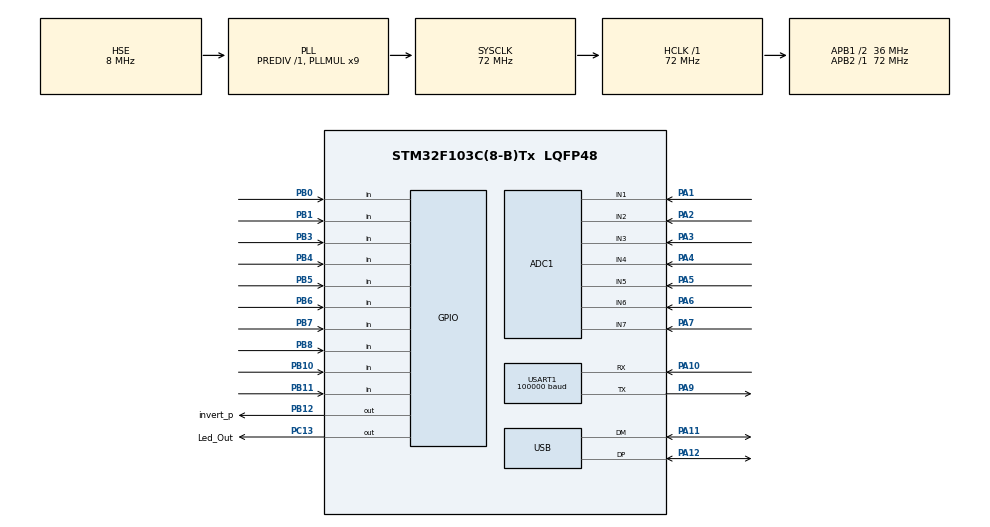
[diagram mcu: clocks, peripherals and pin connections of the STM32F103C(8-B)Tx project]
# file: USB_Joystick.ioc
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ADC1.Channel-0\#ChannelRegularConversion=ADC_CHANNEL_1
ADC1.Channel-1\#ChannelRegularConversion=ADC_CHANNEL_2
ADC1.Channel-2\#ChannelRegularConversion=ADC_CHANNEL_3
ADC1.Channel-3\#ChannelRegularConversion=ADC_CHANNEL_4
ADC1.Channel-8\#ChannelRegularConversion=ADC_CHANNEL_5
ADC1.Channel-9\#ChannelRegularConversion=ADC_CHANNEL_6
ADC1.ContinuousConvMode=ENABLE
ADC1.EnableAnalogWatchDog=false
ADC1.EnableInjectedConversion=DISABLE
ADC1.InjNumberOfConversion=0
ADC1.NbrOfConversion=6
ADC1.NbrOfConversionFlag=1
ADC1.Rank-0\#ChannelRegularConversion=1
ADC1.Rank-1\#ChannelRegularConversion=2
ADC1.Rank-2\#ChannelRegularConversion=3
ADC1.Rank-3\#ChannelRegularConversion=4
ADC1.Rank-8\#ChannelRegularConversion=5
ADC1.Rank-9\#ChannelRegularConversion=6
ADC1.SamplingTime-0\#ChannelRegularConversion=ADC_SAMPLETIME_239CYCLES_5
ADC1.SamplingTime-1\#ChannelRegularConversion=ADC_SAMPLETIME_239CYCLES_5
ADC1.SamplingTime-2\#ChannelRegularConversion=ADC_SAMPLETIME_239CYCLES_5
ADC1.SamplingTime-3\#ChannelRegularConversion=ADC_SAMPLETIME_239CYCLES_5
ADC1.SamplingTime-8\#ChannelRegularConversion=ADC_SAMPLETIME_239CYCLES_5
ADC1.SamplingTime-9\#ChannelRegularConversion=ADC_SAMPLETIME_239CYCLES_5
ADC1.master=1
Dma.ADC1.0.Direction=DMA_PERIPH_TO_MEMORY
Dma.ADC1.0.Instance=DMA1_Channel1
Dma.ADC1.0.MemDataAlignment=DMA_MDATAALIGN_HALFWORD
Dma.ADC1.0.MemInc=DMA_MINC_ENABLE
Dma.ADC1.0.Mode=DMA_CIRCULAR
Dma.ADC1.0.PeriphDataAlignment=DMA_PDATAALIGN_HALFWORD
Dma.ADC1.0.PeriphInc=DMA_PINC_DISABLE
Dma.ADC1.0.Priority=DMA_PRIORITY_MEDIUM
Dma.Request0=ADC1
Mcu.Family=STM32F1
Mcu.Name=STM32F103C(8-B)Tx
Mcu.Package=LQFP48
NVIC.DMA1_Channel1_IRQn=true\:0\:0\:false\:false\:true\:false\:true\:true
NVIC.PriorityGroup=NVIC_PRIORITYGROUP_4
NVIC.USB_LP_CAN1_RX0_IRQn=true\:0\:0\:false\:false\:true\:false\:true\:true
PA1.Signal=ADCx_IN1
PA10.Mode=Asynchronous
PA10.Signal=USART1_RX
PA11.Mode=Device
PA11.Signal=USB_DM
PA12.Mode=Device
PA12.Signal=USB_DP
PA13.Mode=Serial_Wire
PA13.Signal=SYS_JTMS-SWDIO
PA14.Mode=Serial_Wire
PA14.Signal=SYS_JTCK-SWCLK
PA2.Signal=ADCx_IN2
PA3.Signal=ADCx_IN3
PA4.Signal=ADCx_IN4
PA5.Signal=ADCx_IN5
PA6.Signal=ADCx_IN6
PA7.Signal=ADCx_IN7
PA9.Mode=Asynchronous
PA9.Signal=USART1_TX
PB0.GPIO_PuPd=GPIO_PULLUP
PB0.Signal=GPIO_Input
PB1.GPIO_PuPd=GPIO_PULLUP
PB1.Signal=GPIO_Input
PB10.GPIO_PuPd=GPIO_PULLUP
PB10.Signal=GPIO_Input
PB11.GPIO_PuPd=GPIO_PULLUP
PB11.Signal=GPIO_Input
PB12.GPIO_Label=invert_p
PB12.PinState=GPIO_PIN_SET
PB12.Signal=GPIO_Output
PB3.GPIO_PuPd=GPIO_PULLUP
PB3.Signal=GPIO_Input
PB4.GPIO_PuPd=GPIO_PULLUP
PB4.Signal=GPIO_Input
PB5.GPIO_PuPd=GPIO_PULLUP
PB5.Signal=GPIO_Input
PB6.GPIO_PuPd=GPIO_PULLUP
PB6.Signal=GPIO_Input
PB7.GPIO_PuPd=GPIO_PULLUP
PB7.Signal=GPIO_Input
PB8.GPIO_PuPd=GPIO_PULLUP
PB8.Signal=GPIO_Input
PC13-TAMPER-RTC.GPIO_Label=Led_Out
PC13-TAMPER-RTC.Signal=GPIO_Output
PD0-OSC_IN.Mode=HSE-External-Oscillator
PD0-OSC_IN.Signal=RCC_OSC_IN
PD1-OSC_OUT.Mode=HSE-External-Oscillator
PD1-OSC_OUT.Signal=RCC_OSC_OUT
ProjectManager.HeapSize=0x200
ProjectManager.StackSize=0x400
ProjectManager.TargetToolchain=STM32CubeIDE
RCC.ADCPresc=RCC_ADCPCLK2_DIV6
RCC.AHBFreq_Value=72000000
RCC.APB1CLKDivider=RCC_HCLK_DIV2
RCC.APB1Freq_Value=36000000
RCC.APB1TimFreq_Value=72000000
RCC.APB2Freq_Value=72000000
RCC.APB2TimFreq_Value=72000000
RCC.HCLKFreq_Value=72000000
RCC.PLLMUL=RCC_PLL_MUL9
RCC.SYSCLKFreq_VALUE=72000000
RCC.SYSCLKSource=RCC_SYSCLKSOURCE_PLLCLK
RCC.USBFreq_Value=48000000
RCC.USBPrescaler=RCC_USBCLKSOURCE_PLL_DIV1_5
SH.ADCx_IN1.0=ADC1_IN1,IN1
SH.ADCx_IN2.0=ADC1_IN2,IN2
SH.ADCx_IN3.0=ADC1_IN3,IN3
SH.ADCx_IN4.0=ADC1_IN4,IN4
SH.ADCx_IN5.0=ADC1_IN5,IN5
SH.ADCx_IN6.0=ADC1_IN6,IN6
SH.ADCx_IN7.0=ADC1_IN7,IN7
USART1.BaudRate=100000
USART1.Mode=MODE_TX
USART1.Parity=PARITY_EVEN
USART1.StopBits=STOPBITS_2
USART1.VirtualMode=VM_ASYNC
USART1.WordLength=WORDLENGTH_9B
USB_DEVICE.CLASS_NAME_FS=HID
USB_DEVICE.VirtualMode=Hid
USB_DEVICE.VirtualModeFS=Hid_FS
VP_USB_DEVICE_VS_USB_DEVICE_HID_FS.Mode=HID_FS
board=custom

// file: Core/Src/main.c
/* USER CODE BEGIN Header */
/**
  ******************************************************************************
  * @file           : main.c
  * @brief          : Main program body
  ******************************************************************************
  * @attention
  *
  * Copyright (c) 2025 STMicroelectronics.
  * All rights reserved.
  *
  * This software is licensed under terms that can be found in the LICENSE file
  * in the root directory of this software component.
  * If no LICENSE file comes with this software, it is provided AS-IS.
  *
  ******************************************************************************
  */
/* USER CODE END Header */
#include "main.h"
#include "usb_device.h"

/* USER CODE BEGIN Includes */
#include"usbd_hid.h"
#include <stdbool.h>
#include <math.h>
#include <string.h>
#include <stdio.h>

/* USER CODE END Includes */

/* USER CODE BEGIN PTD */
typedef struct{
	uint8_t reportID;
    int8_t x;
    int8_t y;
    int8_t z;
    int8_t rz;
    int8_t rx;
    int8_t ry;
    //   int8_t slider;
    uint16_t buttons;
}__attribute__((packed)) joystickreport;

// Channel calibration data (inspired by RC transmitter code)
typedef struct {
    uint16_t chLower[6];      // Minimum ADC values per axis
    uint16_t chMiddle[6];     // Center ADC values per axis
    uint16_t chUpper[6];      // Maximum ADC values per axis
    int8_t chReverse[6];      // Reverse flags
    int16_t chTrim[6];        // Fine-tune offsets
} CalibrationData_t;

/* USER CODE END PTD */

/* USER CODE BEGIN PD */
#define TGL1_PIN GPIO_PIN_0 // PB0
#define TGL2_PIN GPIO_PIN_1 // PB1
#define TGL3_PIN GPIO_PIN_7 //PB7
#define TGL4_PIN GPIO_PIN_8 // PB8
#define TGL5_PIN GPIO_PIN_10 // PB10
#define TGL6_PIN GPIO_PIN_11 // PB11

#define TGL_PORT GPIOB

#define BTN1_PIN GPIO_PIN_3 // PB2
#define BTN2_PIN GPIO_PIN_4 // PB3
#define BTN3_PIN GPIO_PIN_5 // PB4
#define BTN4_PIN GPIO_PIN_6 // PB5
#define BTN_PORT GPIOB

#define DEADZONE 50
#define ADC_CHANNELS 6
#define SAMPLES_PER_CHANNEL 10
#define ADC_BUFFER_SIZE (ADC_CHANNELS * SAMPLES_PER_CHANNEL)
#define EMA_ALPHA 0.15f

// SBUS Protocol Defines
#define SBUS_FRAME_SIZE 25
#define SBUS_HEADER 0x0F
#define SBUS_FOOTER 0x00
#define SBUS_MIN 172
#define SBUS_MAX 1811
#define SBUS_CENTER 992
/* USER CODE END PD */

ADC_HandleTypeDef hadc1;
DMA_HandleTypeDef hdma_adc1;

UART_HandleTypeDef huart1;

/* USER CODE BEGIN PV */
/*uint16_t raw_adc[4];                         // stores raw ADC readings
float avg_buffer[4][SMOOTH_WINDOW] = {0};    // moving average history buffer
float smoothed_adc[4] = {0};                 // smoothed ADC values
*/

uint16_t adc_buffer[ADC_BUFFER_SIZE];
uint16_t adc_filtered[ADC_CHANNELS];
float ema_values[ADC_CHANNELS] = {0};

extern USBD_HandleTypeDef hUsbDeviceFS;
uint8_t sbusFrame[25];

// Calibration data with defaults
CalibrationData_t cal = {
		.chLower = {200, 200, 200, 200, 0, 0},
		.chMiddle = {2048, 2048, 2048, 2048, 2048, 2048},
		.chUpper = {3900, 3900, 3900, 3900, 4095, 4095},
		.chReverse = {0, 0, 0, 0, 0,0},
		.chTrim = {0, 0, 0, 0, 0, 0}
		};

int16_t rcChannels[4];  // RC channel values (1000-2000)

uint16_t potentiometers[2] = {0};  // Store 3 potentiometer raw values (0-4095)
uint8_t pot_percent[2] = {0};      // Store as percentages (0-100%)

volatile uint8_t adc_ready = 0;
static bool ema_seeded = false;

int16_t data;

/* USER CODE END PV */

void SystemClock_Config(void);
static void MX_GPIO_Init(void);
static void MX_DMA_Init(void);
static void MX_ADC1_Init(void);
static void MX_USART1_UART_Init(void);
/* USER CODE BEGIN PFP */
void EncodeSBUS(uint16_t channels[16], uint8_t frame[SBUS_FRAME_SIZE]);
void SendSBUSToFlightController(uint8_t *frame);
int16_t MapToSBUS(int8_t joy_value);
void JoystickToSBUS(joystickreport *joy);

uint16_t GetMedianValue(uint16_t *buffer, uint8_t channel);
float EMAFilter(float current, float previous, float alpha);
int16_t MapADCtoRC(uint16_t adc_value, uint8_t axis);
void BuildSBUSFrame(int16_t channels[16]);
int16_t RCtoSBUS(int16_t rc_value);
void ProcessADCData(void);

int16_t JoyToSBUS(int8_t v);
int16_t PotToSBUS(uint16_t pot_value);
/* USER CODE END PFP */

/* USER CODE BEGIN 0 */

void ADC_Calibration(void)
{
    if ((hadc1.Instance->CR2 & ADC_CR2_ADON) != 0) {
        hadc1.Instance->CR2 &= ~ADC_CR2_ADON;
        HAL_Delay(1);
    }
    hadc1.Instance->CR2 |= ADC_CR2_RSTCAL;
    while (hadc1.Instance->CR2 & ADC_CR2_RSTCAL);
    hadc1.Instance->CR2 |= ADC_CR2_CAL;
    while (hadc1.Instance->CR2 & ADC_CR2_CAL);
    HAL_Delay(2);
}

// Median filter implementation
uint16_t GetMedianValue(uint16_t *buffer, uint8_t channel) {
    uint16_t temp_array[SAMPLES_PER_CHANNEL];

    // Extract samples for this channel
    for (int i = 0; i < SAMPLES_PER_CHANNEL; i++) {
        temp_array[i] = buffer[channel + ADC_CHANNELS * i];
    }

    // Bubble sort
    for (int j = 0; j < SAMPLES_PER_CHANNEL - 1; j++) {
        for (int i = 0; i < SAMPLES_PER_CHANNEL - j - 1; i++) {
            if (temp_array[i] > temp_array[i + 1]) {
                uint16_t temp = temp_array[i];
                temp_array[i] = temp_array[i + 1];
                temp_array[i + 1] = temp;
            }
        }
    }

    // Return median
    if (SAMPLES_PER_CHANNEL & 1) {
        return temp_array[SAMPLES_PER_CHANNEL / 2];
    } else {
        return (temp_array[SAMPLES_PER_CHANNEL / 2 - 1] +
                temp_array[SAMPLES_PER_CHANNEL / 2]) / 2;
    }
}

// Exponential Moving Average filter
float EMAFilter(float current, float previous, float alpha) {
    return (alpha * current) + ((1.0f - alpha) * previous);
}

// Map ADC to RC values (1000-2000) with calibration
int16_t MapADCtoRC(uint16_t adc_value, uint8_t axis) {
    int raw = (int)adc_value;
    int result;

    // Apply deadzone around center
    int centered = raw - cal.chMiddle[axis];
    if (abs(centered) < DEADZONE) {
        return 1500;
    }

    // Map using calibration points
    if (raw < cal.chMiddle[axis]) {
        int range_low = cal.chMiddle[axis] - cal.chLower[axis];
        if (range_low < 100) range_low = 100;
        result = 1000 + (raw - cal.chLower[axis]) * 500 / range_low;
    } else {
        int range_high = cal.chUpper[axis] - cal.chMiddle[axis];
        if (range_high < 100) range_high = 100;
        result = 1500 + (raw - cal.chMiddle[axis]) * 500 / range_high;
    }

    // Apply trim and reverse
    result += cal.chTrim[axis];
    if (cal.chReverse[axis]) {
        result = 3000 - result;
    }

    // Clamp
    if (result < 1000) result = 1000;
    if (result > 2000) result = 2000;

    return (int16_t)result;
}

/* USER CODE BEGIN 0 */

// Convert int8_t joystick (-127 to +127) to SBUS (172-1811)
int16_t JoyToSBUS(int8_t v) {
    int32_t scaled = ((int32_t)(v + 127) * (SBUS_MAX - SBUS_MIN)) / 254 + SBUS_MIN;
    if (scaled < SBUS_MIN)  scaled = SBUS_MIN;
    if (scaled > SBUS_MAX)  scaled = SBUS_MAX;
    return (int16_t)scaled;
}

// Convert potentiometer (0-4095) to SBUS (172-1811)
int16_t PotToSBUS(uint16_t pot_value) {
    int32_t scaled = ((int32_t)pot_value * (SBUS_MAX - SBUS_MIN)) / 4095 + SBUS_MIN;
    if (scaled < SBUS_MIN)  scaled = SBUS_MIN;
    if (scaled > SBUS_MAX)  scaled = SBUS_MAX;
    return (int16_t)scaled;
}
void BuildSBUSFrame(int16_t channels[16]) {
    memset(sbusFrame, 0, sizeof(sbusFrame));
    sbusFrame[0] = SBUS_HEADER;

    uint32_t bitIndex = 0;
    for (int i = 0; i < 16; i++) {
        int16_t value = channels[i] & 0x07FF;
        for (int b = 0; b < 11; b++) {
            if (value & (1 << b)) {
                sbusFrame[1 + (bitIndex >> 3)] |= (1 << (bitIndex & 0x07));
            }
            bitIndex++;
        }
    }

    sbusFrame[23] = 0x00;
    sbusFrame[24] = SBUS_FOOTER;
}
void ProcessADCData(void) {
    uint16_t temp_filtered[ADC_CHANNELS];

    // Step 1: Filter ALL 7 channels (median + EMA)
    for (int ch = 0; ch < ADC_CHANNELS; ch++) {
        uint16_t median = GetMedianValue(adc_buffer, ch);

        if (!ema_seeded) {
            ema_values[ch] = (float)median;
        } else {
            ema_values[ch] = EMAFilter((float)median, ema_values[ch], EMA_ALPHA);
        }

        temp_filtered[ch] = (uint16_t)ema_values[ch];
    }
    ema_seeded = true;

    // Step 2: Process JOYSTICKS (channels 0-3) with crosstalk suppression
    for (int ch = 0; ch < 4; ch++) {
        int16_t deviation = (int16_t)temp_filtered[ch] - (int16_t)cal.chMiddle[ch];

        // Snap to center if very close (eliminates crosstalk)
        if (abs(deviation) < 25) {
            adc_filtered[ch] = cal.chMiddle[ch];
        } else {
            adc_filtered[ch] = temp_filtered[ch];
        }

        rcChannels[ch] = MapADCtoRC(adc_filtered[ch], ch);
    }

    // Step 3: Process POTENTIOMETERS (channels 4-6) - direct reading, no deadzone
    for (int i = 0; i < 2; i++) {
        adc_filtered[4 + i] = temp_filtered[4 + i];
        potentiometers[i] = adc_filtered[4 + i];

        // Convert to percentage (0-100%)
        pot_percent[i] = (uint8_t)((potentiometers[i] * 100) / 4095);
    }
}

// DMA conversion complete callback
void HAL_ADC_ConvCpltCallback(ADC_HandleTypeDef* hadc) {
    adc_ready = 1;
}
/*void SendSBUSToFlightController(uint8_t *frame) {
    // Transmit 25-byte SBUS frame
	 HAL_UART_Transmit(&huart3, frame, 25, HAL_MAX_DELAY);

}*/

/* USER CODE END 0 */

int main(void)
{

  /* MCU Configuration--------------------------------------------------------*/

  /* Reset of all peripherals, Initializes the Flash interface and the Systick. */
  HAL_Init();

  /* Configure the system clock */
  SystemClock_Config();

  /* Initialize all configured peripherals */
  MX_GPIO_Init();
  MX_DMA_Init();
  MX_ADC1_Init();
  MX_USB_DEVICE_Init();
  MX_USART1_UART_Init();
  /* USER CODE BEGIN 2 */

 // char tg[] = "TX Ready\r\n";
    	             // HAL_UART_Transmit(&huart1, (uint8_t*)tg, sizeof(tg)-1, HAL_MAX_DELAY);

    	              HAL_GPIO_WritePin(invert_p_GPIO_Port, invert_p_Pin, GPIO_PIN_SET);

    	          //

    	           //   ADC_Calibration();

    	             HAL_ADCEx_Calibration_Start(&hadc1);
    	                 HAL_Delay(10);

    	                 // Start DMA in circular mode
    	                 HAL_ADC_Start_DMA(&hadc1, (uint32_t*)adc_buffer, ADC_BUFFER_SIZE);
    	                 HAL_Delay(200);

    	                 for (int i = 0; i < 5; i++) {
    	                     while (!adc_ready) { }  // Wait for DMA complete
    	                     adc_ready = 0;
    	                     ProcessADCData();
    	                     HAL_Delay(20);
    	                 }

    	                 // Seed EMA and auto-calibrate center position using freshly acquired samples
    	                 ProcessADCData();
    	                 for (int i = 0; i < 4; i++) {
    	                 cal.chMiddle[i] = adc_filtered[i];
    	                 }

    	                 char cal_msg[150];
    	                 snprintf(cal_msg, sizeof(cal_msg),
    	                          "Calibrated: CH0=%d CH1=%d CH2=%d CH3=%d POT1=%d POT2=%d\r\n",
    	                          cal.chMiddle[0], cal.chMiddle[1], cal.chMiddle[2], cal.chMiddle[3],
    	                          cal.chMiddle[4], cal.chMiddle[5]);
    	              //   HAL_UART_Transmit(&huart1, (uint8_t*)cal_msg, strlen(cal_msg), HAL_MAX_DELAY);

    	                 uint32_t loop_counter = 0;

  /* USER CODE END 2 */

  /* Infinite loop */
  /* USER CODE BEGIN WHILE */
  joystickreport last_joy = {0};  // previous state
    joystickreport joy = {0};     // current state

    joy.reportID = 1;
    last_joy.reportID = 1;

   // uint8_t idx = 0;              //smoothing buffer index
  while (1)
  {
	  // Wait for DMA complete
	        if (adc_ready) {
	            adc_ready = 0;

	            // Process ADC data with median + EMA filtering
	            ProcessADCData();

	            joy.x  = -(int8_t)(((int32_t)(rcChannels[0] - 1500) * 127) / 500);
	          	            joy.y  = (int8_t)(((int32_t)(rcChannels[1] - 1500) * 127) / 500);
	          	            joy.z  = -(int8_t)(((int32_t)(rcChannels[2] - 1500) * 127) / 500);
	          	            joy.rz = (int8_t)(((int32_t)(rcChannels[3] - 1500) * 127) / 500);

	            joy.rx     = (int8_t)((potentiometers[0] * 254 / 4095) - 127);  // Pot 1
	            joy.ry     = (int8_t)((potentiometers[1] * 254 / 4095) - 127);  // Pot 2
	           // joy.slider = (int8_t)((potentiometers[2] * 254 / 4095) - 127);  // Pot 3

	            uint8_t but1  = !HAL_GPIO_ReadPin(BTN_PORT, BTN1_PIN);
	          	            uint8_t but2  = !HAL_GPIO_ReadPin(BTN_PORT, BTN2_PIN);
	          	            uint8_t but3  = !HAL_GPIO_ReadPin(BTN_PORT, BTN3_PIN);
	          	            uint8_t but4  = !HAL_GPIO_ReadPin(BTN_PORT, BTN4_PIN);
	            uint8_t left1  = HAL_GPIO_ReadPin(TGL_PORT, TGL1_PIN);
	            uint8_t right1 = HAL_GPIO_ReadPin(TGL_PORT, TGL2_PIN);

	            uint8_t sw_left = 0;
	            uint8_t sw_center = 0;
	            uint8_t sw_right = 0;

	            if (left1 == GPIO_PIN_RESET && right1 == GPIO_PIN_SET) {
	                sw_left = 1;
	            }
	            else if (left1 == GPIO_PIN_SET && right1 == GPIO_PIN_RESET) {
	                sw_right = 1;
	            }
	            else {
	                sw_center = 1;
	            }

	            uint8_t left2  = HAL_GPIO_ReadPin(TGL_PORT, TGL3_PIN);
	            uint8_t right2 = HAL_GPIO_ReadPin(TGL_PORT, TGL4_PIN);

	            uint8_t sw_left1 = 0;
	            uint8_t sw_center1 = 0;
	            uint8_t sw_right1 = 0;

	            if (left2 == GPIO_PIN_RESET && right2 == GPIO_PIN_SET) {
	                sw_left1 = 1;
	            }
	            else if (left2 == GPIO_PIN_SET && right2 == GPIO_PIN_RESET) {
	                sw_right1 = 1;
	            }
	            else {
	                sw_center1 = 1;
	            }

	            uint8_t ts1   = !HAL_GPIO_ReadPin(TGL_PORT, TGL5_PIN);
	            uint8_t ts2   = !HAL_GPIO_ReadPin(TGL_PORT, TGL6_PIN);

	   	            joy.buttons =
	                (but1      << 0) | (but2      << 1) | (but3      << 2) | (but4      << 3) | (ts1       << 4) | (ts2       << 5) | (sw_left   << 6) |
	                (sw_center << 7) | (sw_right  << 8) | (sw_left1  << 9) | (sw_center1<< 10)| (sw_right1 << 11);

	            // Send USB HID if changed
	            bool changed = false;
	            if (abs(joy.x  - last_joy.x)  > 2) changed = true;
	            if (abs(joy.y  - last_joy.y)  > 2) changed = true;
	            if (abs(joy.z  - last_joy.z)  > 2) changed = true;
	            if (abs(joy.rz - last_joy.rz) > 2) changed = true;
	            if (abs(joy.rx - last_joy.rx) > 2) changed = true;
	            if (abs(joy.ry - last_joy.ry) > 2) changed = true;
	          //  if (abs(joy.slider - last_joy.slider) > 2) changed = true;
	            if (joy.buttons != last_joy.buttons) changed = true;

	            if (changed) {

	            	/* uint8_t *ptr = (uint8_t*)&joy;
	            	        char raw[100];
	            	        snprintf(raw, sizeof(raw),
	            	                 "USB→[%02X][%02X][%02X][%02X][%02X][%02X]\r\n",
	            	                 ptr[0], ptr[1], ptr[2], ptr[3], ptr[4],
	            	                 sizeof(joystickreport));
	            	        HAL_UART_Transmit(&huart1, (uint8_t*)raw, strlen(raw), 10);*/
	            	joy.reportID = 1;

	                USBD_HID_SendReport(&hUsbDeviceFS, (uint8_t*)&joy, sizeof(joystickreport));
	                memcpy(&last_joy, &joy, sizeof(joystickreport));
	            }

	            // Debug output (throttled)
	            if (loop_counter % 25 == 0) {
	            	 char buf[200];
	            	 snprintf(buf, sizeof(buf),
	            	                     "ADC:%d,%d,%d,%d | POT1=%d(%d%%) POT2=%d(%d%%) | JOY:X=%d Y=%d Z=%d RZ=%d BTN=0x%02X\r\n",
	            	                     adc_filtered[0], adc_filtered[1], adc_filtered[2], adc_filtered[3],
	            	                     potentiometers[0], pot_percent[0],
	            	                     potentiometers[1], pot_percent[1],
	            	                     joy.x, joy.y, joy.z, joy.rz, joy.buttons);
	            	          //  HAL_UART_Transmit(&huart1, (uint8_t*)buf, strlen(buf), 10);
	                HAL_GPIO_TogglePin(Led_Out_GPIO_Port, Led_Out_Pin);
	            }

	            // Build and send SBUS
	            int16_t sbusChannels[16] = {0};

	            // Joysticks: Use joy values directly (bypass RC values)
	            sbusChannels[3] = JoyToSBUS(joy.x);   // Roll
	            sbusChannels[2] = JoyToSBUS(-joy.y);   // Pitch
	            sbusChannels[0] = JoyToSBUS(joy.z);   // Throttle
	            sbusChannels[1] = JoyToSBUS(-joy.rz);  // Yaw

	          	            sbusChannels[4] = PotToSBUS(potentiometers[0]);
	          	            sbusChannels[5] = PotToSBUS(potentiometers[1]);

	          	          // Channel 7: 3-way switch #1 (TGL1+TGL2)
	          	          uint8_t switch1_state = 0;
	          	          if (sw_left) switch1_state = 0;        // Left → SBUS_MIN
	          	          else if (sw_center) switch1_state = 1; // Center → SBUS_CENTER
	          	          else if (sw_right) switch1_state = 2;  // Right → SBUS_MAX
	          	          sbusChannels[6] = SBUS_MIN + (switch1_state * (SBUS_MAX - SBUS_MIN) / 2);

	          	          // Channel 8: 3-way switch #2 (TGL3+TGL4)
	          	          uint8_t switch2_state = 0;
	          	          if (sw_left1) switch2_state = 0;
	          	          else if (sw_center1) switch2_state = 1;
	          	          else if (sw_right1) switch2_state = 2;
	          	          sbusChannels[7] = SBUS_MIN + (switch2_state * (SBUS_MAX - SBUS_MIN) / 2);

	          	          // Channel 9: 2-way toggles (TGL5, TGL6) - 4 combinations
	          	          uint8_t toggle_state_ch9 = (ts1) | (ts2 << 1);
	          	          sbusChannels[8] = SBUS_MIN + (toggle_state_ch9 * (SBUS_MAX - SBUS_MIN) / 3);

	          	          // Channel 10: Momentary buttons (BTN1, BTN2) - 4 combinations
	          	          uint8_t button_state_ch10 = (but1) | (but2 << 1);
	          	          sbusChannels[9] = SBUS_MIN + (button_state_ch10 * (SBUS_MAX - SBUS_MIN) / 3);

	          	          // Channel 11: Momentary buttons (BTN3, BTN4) - 4 combinations
	          	          uint8_t button_state_ch11 = (but3) | (but4 << 1);
	          	          sbusChannels[10] = SBUS_MIN + (button_state_ch11 * (SBUS_MAX - SBUS_MIN) / 3);

	          	          // Channels 12-16: Unused (center position)
	          	          for (int i = 11; i < 16; i++) {
	          	              sbusChannels[i] = SBUS_CENTER;
	          	          }
	            BuildSBUSFrame(sbusChannels);
	           HAL_UART_Transmit(&huart1, sbusFrame, SBUS_FRAME_SIZE, 10);

	            loop_counter++;
	        }

	        HAL_Delay(8);

    /* USER CODE END WHILE */

  }
}

void SystemClock_Config(void)
{
  RCC_OscInitTypeDef RCC_OscInitStruct = {0};
  RCC_ClkInitTypeDef RCC_ClkInitStruct = {0};
  RCC_PeriphCLKInitTypeDef PeriphClkInit = {0};

  /** Initializes the RCC Oscillators according to the specified parameters
  * in the RCC_OscInitTypeDef structure.
  */
  RCC_OscInitStruct.OscillatorType = RCC_OSCILLATORTYPE_HSE;
  RCC_OscInitStruct.HSEState = RCC_HSE_ON;
  RCC_OscInitStruct.HSEPredivValue = RCC_HSE_PREDIV_DIV1;
  RCC_OscInitStruct.HSIState = RCC_HSI_ON;
  RCC_OscInitStruct.PLL.PLLState = RCC_PLL_ON;
  RCC_OscInitStruct.PLL.PLLSource = RCC_PLLSOURCE_HSE;
  RCC_OscInitStruct.PLL.PLLMUL = RCC_PLL_MUL9;
  if (HAL_RCC_OscConfig(&RCC_OscInitStruct) != HAL_OK)
  {
    Error_Handler();
  }

  /** Initializes the CPU, AHB and APB buses clocks
  */
  RCC_ClkInitStruct.ClockType = RCC_CLOCKTYPE_HCLK|RCC_CLOCKTYPE_SYSCLK
                              |RCC_CLOCKTYPE_PCLK1|RCC_CLOCKTYPE_PCLK2;
  RCC_ClkInitStruct.SYSCLKSource = RCC_SYSCLKSOURCE_PLLCLK;
  RCC_ClkInitStruct.AHBCLKDivider = RCC_SYSCLK_DIV1;
  RCC_ClkInitStruct.APB1CLKDivider = RCC_HCLK_DIV2;
  RCC_ClkInitStruct.APB2CLKDivider = RCC_HCLK_DIV1;

  if (HAL_RCC_ClockConfig(&RCC_ClkInitStruct, FLASH_LATENCY_2) != HAL_OK)
  {
    Error_Handler();
  }
  PeriphClkInit.PeriphClockSelection = RCC_PERIPHCLK_ADC|RCC_PERIPHCLK_USB;
  PeriphClkInit.AdcClockSelection = RCC_ADCPCLK2_DIV6;
  PeriphClkInit.UsbClockSelection = RCC_USBCLKSOURCE_PLL_DIV1_5;
  if (HAL_RCCEx_PeriphCLKConfig(&PeriphClkInit) != HAL_OK)
  {
    Error_Handler();
  }
}

static void MX_ADC1_Init(void)
{

  ADC_ChannelConfTypeDef sConfig = {0};

  /** Common config
  */
  hadc1.Instance = ADC1;
  hadc1.Init.ScanConvMode = ADC_SCAN_ENABLE;
  hadc1.Init.ContinuousConvMode = ENABLE;
  hadc1.Init.DiscontinuousConvMode = DISABLE;
  hadc1.Init.ExternalTrigConv = ADC_SOFTWARE_START;
  hadc1.Init.DataAlign = ADC_DATAALIGN_RIGHT;
  hadc1.Init.NbrOfConversion = 6;
  if (HAL_ADC_Init(&hadc1) != HAL_OK)
  {
    Error_Handler();
  }

  /** Configure Regular Channel
  */
  sConfig.Channel = ADC_CHANNEL_1;
  sConfig.Rank = ADC_REGULAR_RANK_1;
  sConfig.SamplingTime = ADC_SAMPLETIME_239CYCLES_5;
  if (HAL_ADC_ConfigChannel(&hadc1, &sConfig) != HAL_OK)
  {
    Error_Handler();
  }

  /** Configure Regular Channel
  */
  sConfig.Channel = ADC_CHANNEL_2;
  sConfig.Rank = ADC_REGULAR_RANK_2;
  if (HAL_ADC_ConfigChannel(&hadc1, &sConfig) != HAL_OK)
  {
    Error_Handler();
  }

  /** Configure Regular Channel
  */
  sConfig.Channel = ADC_CHANNEL_3;
  sConfig.Rank = ADC_REGULAR_RANK_3;
  if (HAL_ADC_ConfigChannel(&hadc1, &sConfig) != HAL_OK)
  {
    Error_Handler();
  }

  /** Configure Regular Channel
  */
  sConfig.Channel = ADC_CHANNEL_4;
  sConfig.Rank = ADC_REGULAR_RANK_4;
  if (HAL_ADC_ConfigChannel(&hadc1, &sConfig) != HAL_OK)
  {
    Error_Handler();
  }

  /** Configure Regular Channel
  */
  sConfig.Channel = ADC_CHANNEL_5;
  sConfig.Rank = ADC_REGULAR_RANK_5;
  if (HAL_ADC_ConfigChannel(&hadc1, &sConfig) != HAL_OK)
  {
    Error_Handler();
  }

  /** Configure Regular Channel
  */
  sConfig.Channel = ADC_CHANNEL_6;
  sConfig.Rank = ADC_REGULAR_RANK_6;
  if (HAL_ADC_ConfigChannel(&hadc1, &sConfig) != HAL_OK)
  {
    Error_Handler();
  }

}

static void MX_USART1_UART_Init(void)
{

  huart1.Instance = USART1;
  huart1.Init.BaudRate = 100000;
  huart1.Init.WordLength = UART_WORDLENGTH_9B;
  huart1.Init.StopBits = UART_STOPBITS_2;
  huart1.Init.Parity = UART_PARITY_EVEN;
  huart1.Init.Mode = UART_MODE_TX;
  huart1.Init.HwFlowCtl = UART_HWCONTROL_NONE;
  huart1.Init.OverSampling = UART_OVERSAMPLING_16;
  if (HAL_UART_Init(&huart1) != HAL_OK)
  {
    Error_Handler();
  }

}

static void MX_DMA_Init(void)
{

  /* DMA controller clock enable */
  __HAL_RCC_DMA1_CLK_ENABLE();

  /* DMA interrupt init */
  /* DMA1_Channel1_IRQn interrupt configuration */
  HAL_NVIC_SetPriority(DMA1_Channel1_IRQn, 0, 0);
  HAL_NVIC_EnableIRQ(DMA1_Channel1_IRQn);

}

static void MX_GPIO_Init(void)
{
  GPIO_InitTypeDef GPIO_InitStruct = {0};

  /* GPIO Ports Clock Enable */
  __HAL_RCC_GPIOC_CLK_ENABLE();
  __HAL_RCC_GPIOD_CLK_ENABLE();
  __HAL_RCC_GPIOA_CLK_ENABLE();
  __HAL_RCC_GPIOB_CLK_ENABLE();

  /*Configure GPIO pin Output Level */
  HAL_GPIO_WritePin(Led_Out_GPIO_Port, Led_Out_Pin, GPIO_PIN_RESET);

  /*Configure GPIO pin Output Level */
  HAL_GPIO_WritePin(invert_p_GPIO_Port, invert_p_Pin, GPIO_PIN_SET);

  /*Configure GPIO pin : Led_Out_Pin */
  GPIO_InitStruct.Pin = Led_Out_Pin;
  GPIO_InitStruct.Mode = GPIO_MODE_OUTPUT_PP;
  GPIO_InitStruct.Pull = GPIO_NOPULL;
  GPIO_InitStruct.Speed = GPIO_SPEED_FREQ_LOW;
  HAL_GPIO_Init(Led_Out_GPIO_Port, &GPIO_InitStruct);

  /*Configure GPIO pins : PB0 PB1 PB10 PB11
                           PB3 PB4 PB5 PB6
                           PB7 PB8 */
  GPIO_InitStruct.Pin = GPIO_PIN_0|GPIO_PIN_1|GPIO_PIN_10|GPIO_PIN_11
                          |GPIO_PIN_3|GPIO_PIN_4|GPIO_PIN_5|GPIO_PIN_6
                          |GPIO_PIN_7|GPIO_PIN_8;
  GPIO_InitStruct.Mode = GPIO_MODE_INPUT;
  GPIO_InitStruct.Pull = GPIO_PULLUP;
  HAL_GPIO_Init(GPIOB, &GPIO_InitStruct);

  /*Configure GPIO pin : invert_p_Pin */
  GPIO_InitStruct.Pin = invert_p_Pin;
  GPIO_InitStruct.Mode = GPIO_MODE_OUTPUT_PP;
  GPIO_InitStruct.Pull = GPIO_NOPULL;
  GPIO_InitStruct.Speed = GPIO_SPEED_FREQ_LOW;
  HAL_GPIO_Init(invert_p_GPIO_Port, &GPIO_InitStruct);

}

void Error_Handler(void)
{
  __disable_irq();
  while (1)
  {
  }
}
